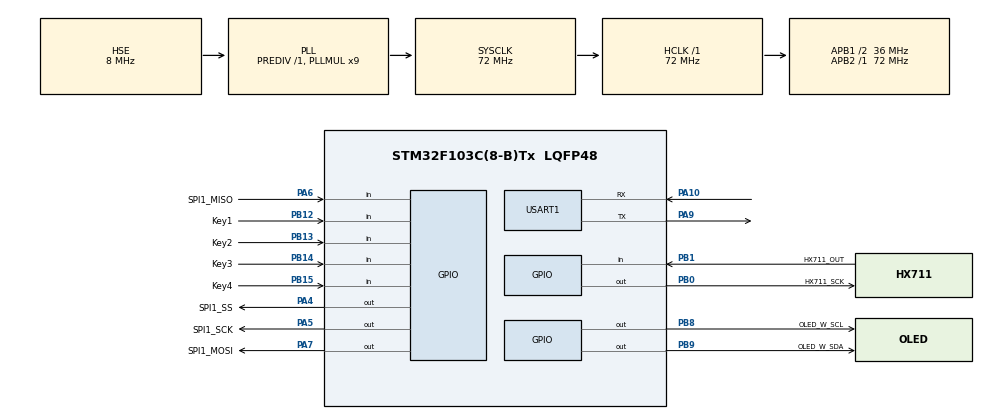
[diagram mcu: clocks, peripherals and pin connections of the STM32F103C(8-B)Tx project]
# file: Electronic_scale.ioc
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Mcu.Family=STM32F1
Mcu.Name=STM32F103C(8-B)Tx
Mcu.Package=LQFP48
NVIC.PriorityGroup=NVIC_PRIORITYGROUP_4
NVIC.TIM3_IRQn=true\:0\:0\:true\:false\:true\:true\:true\:true
PA10.Mode=Asynchronous
PA10.Signal=USART1_RX
PA13.Mode=Serial_Wire
PA13.Signal=SYS_JTMS-SWDIO
PA14.Mode=Serial_Wire
PA14.Signal=SYS_JTCK-SWCLK
PA4.GPIO_Label=SPI1_SS
PA4.GPIO_Speed=GPIO_SPEED_FREQ_HIGH
PA4.PinState=GPIO_PIN_SET
PA4.Signal=GPIO_Output
PA5.GPIO_Label=SPI1_SCK
PA5.GPIO_PuPd=GPIO_NOPULL
PA5.GPIO_Speed=GPIO_SPEED_FREQ_HIGH
PA5.Signal=GPIO_Output
PA6.GPIO_Label=SPI1_MISO
PA6.GPIO_PuPd=GPIO_PULLUP
PA6.Signal=GPIO_Input
PA7.GPIO_Label=SPI1_MOSI
PA7.GPIO_Speed=GPIO_SPEED_FREQ_HIGH
PA7.PinState=GPIO_PIN_SET
PA7.Signal=GPIO_Output
PA9.Mode=Asynchronous
PA9.Signal=USART1_TX
PB0.GPIO_Label=HX711_SCK
PB0.GPIO_Speed=GPIO_SPEED_FREQ_HIGH
PB0.PinState=GPIO_PIN_RESET
PB0.Signal=GPIO_Output
PB1.GPIO_Label=HX711_OUT
PB1.GPIO_PuPd=GPIO_PULLUP
PB1.Signal=GPIO_Input
PB12.GPIO_Label=Key1
PB12.GPIO_PuPd=GPIO_PULLDOWN
PB12.Signal=GPIO_Input
PB13.GPIO_Label=Key2
PB13.GPIO_PuPd=GPIO_PULLDOWN
PB13.Signal=GPIO_Input
PB14.GPIO_Label=Key3
PB14.GPIO_PuPd=GPIO_PULLDOWN
PB14.Signal=GPIO_Input
PB15.GPIO_Label=Key4
PB15.GPIO_PuPd=GPIO_PULLDOWN
PB15.Signal=GPIO_Input
PB8.GPIO_Label=OLED_W_SCL
PB8.GPIO_ModeDefaultOutputPP=GPIO_MODE_OUTPUT_OD
PB8.GPIO_PuPd=GPIO_PULLUP
PB8.GPIO_Speed=GPIO_SPEED_FREQ_HIGH
PB8.PinState=GPIO_PIN_SET
PB8.Signal=GPIO_Output
PB9.GPIO_Label=OLED_W_SDA
PB9.GPIO_ModeDefaultOutputPP=GPIO_MODE_OUTPUT_OD
PB9.GPIO_PuPd=GPIO_PULLUP
PB9.GPIO_Speed=GPIO_SPEED_FREQ_HIGH
PB9.PinState=GPIO_PIN_SET
PB9.Signal=GPIO_Output
PD0-OSC_IN.Mode=HSE-External-Oscillator
PD0-OSC_IN.Signal=RCC_OSC_IN
PD1-OSC_OUT.Mode=HSE-External-Oscillator
PD1-OSC_OUT.Signal=RCC_OSC_OUT
ProjectManager.HeapSize=0x200
ProjectManager.StackSize=0x400
ProjectManager.TargetToolchain=CMake
RCC.AHBFreq_Value=72000000
RCC.APB1CLKDivider=RCC_HCLK_DIV2
RCC.APB1Freq_Value=36000000
RCC.APB1TimFreq_Value=72000000
RCC.APB2Freq_Value=72000000
RCC.APB2TimFreq_Value=72000000
RCC.EnbaleCSS=true
RCC.HCLKFreq_Value=72000000
RCC.PLLMUL=RCC_PLL_MUL9
RCC.PLLSourceVirtual=RCC_PLLSOURCE_HSE
RCC.SYSCLKFreq_VALUE=72000000
RCC.SYSCLKSource=RCC_SYSCLKSOURCE_PLLCLK
RCC.USBFreq_Value=72000000
TIM3.AutoReloadPreload=TIM_AUTORELOAD_PRELOAD_ENABLE
TIM3.Period=999
TIM3.Prescaler=7199
USART1.VirtualMode=VM_ASYNC
VP_TIM3_VS_ClockSourceINT.Mode=Internal
board=custom

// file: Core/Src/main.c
/* USER CODE BEGIN Header */
/**
  ******************************************************************************
  * @file           : main.c
  * @brief          : Main program body
  ******************************************************************************
  * @attention
  *
  * Copyright (c) 2026 STMicroelectronics.
  * All rights reserved.
  *
  * This software is licensed under terms that can be found in the LICENSE file
  * in the root directory of this software component.
  * If no LICENSE file comes with this software, it is provided AS-IS.
  *
  ******************************************************************************
  */
/* USER CODE END Header */
#include "main.h"
#include "tim.h"
#include "usart.h"
#include "gpio.h"

/* USER CODE BEGIN Includes */
#include "OLED.h"
#include "hx711.h"
#include "Serial.h"
#include "W25Q64.h"
#include "Key.h"
#include <stdint.h>
/* USER CODE END Includes */

/* USER CODE BEGIN PD */
extern const uint8_t* const BMP_FRAMES[];

/* USER CODE END PD */

void SystemClock_Config(void);

/* USER CODE BEGIN 0 */
int32_t Rawval = 0;//HX711原始数据
float Weight = 0;//重量
uint32_t SaveCount = 0;//保存结果
uint8_t WeightData[16];//重量数据数组
uint32_t SaveDisplayTime = 0;//保存结果显示时间
float UnitPrice = 0.0f;//单价
float TotalPrice = 0.0f;//总价
DisplayState current_display_state = DISPLAY_WEIGHING;//显示模式
uint32_t history_index = 0;//历史记录索引
uint32_t save_index = 0;//查询记录索引
/* USER CODE END 0 */

int main(void)
{

  /* MCU Configuration--------------------------------------------------------*/

  /* Reset of all peripherals, Initializes the Flash interface and the Systick. */
  HAL_Init();

  /* Configure the system clock */
  SystemClock_Config();

  /* Initialize all configured peripherals */
  MX_GPIO_Init();
  MX_USART1_UART_Init();
  MX_TIM3_Init();
  /* USER CODE BEGIN 2 */
  OLED_Init();
  // OLED_ShowString(2, 1, "Elector_SCALE");
  // OLED_ShowString(3, 1, "Initializing...");
  // HX711_Init();
  // HX711_KalmanInit(0.05f, 0.1f, 0.0f);
  // W25Q64_Init();
  // OLED_ShowString(1, 1, "Weight:");
  // 1. 先去皮（确保秤上无物品）
  // HX711_Tare();
  HAL_Delay(100);

  // // 2. 放置已知重量的物品进行校准（例如1000g）
  // HX711_Calibrate(1000.0f);
  // HAL_Delay(100);

  // 3. 再次去皮
  // HX711_Tare();
  HAL_TIM_Base_Start_IT(&htim3);
  // W25Q64_SectorErase(16);
    OLED_Clear();
  /* USER CODE END 2 */

  /* Infinite loop */
  /* USER CODE BEGIN WHILE */
  uint8_t frame_idx = 0;

  while (1)
  {
    OLED_DrawBMPToBuffer(20, 0, 64, 64, BMP_FRAMES[frame_idx], 0);
    OLED_FlushBuffer();

    frame_idx = (frame_idx + 1) % 28;

    // HAL_Delay(5);  // 50ms = 20fps
    // Rawval = HX711_Read();
    // Weight = HX711_GetWeight(Rawval);
    // Serial_Printf("weight:%.2f\r\n", Weight);

    // if (current_display_state == DISPLAY_WEIGHING)
    // {
    //     //显示重量
    //     // OLED_ShowCN(1, 1, 0, 1);
    //     // OLED_ShowCN(1, 2, 1, 1);
    //     DISPLAY_Zhong;
    //     DISPLAY_Liang;
    //     OLED_ShowString(1, 5, ":");
    //     OLED_ShowString(1, 16, "g");
    //     OLED_ShowFloat(1, 6, Weight, 5, 2);

    //     if (Weight >= 0.0f)
    //     {
    //         TotalPrice = Weight * UnitPrice/500.0f;
    //     }
    //     else
    //     {
    //         TotalPrice = 0.0f;
    //     }

    //     // OLED_ShowString(2, 1, "Price:");
    //     DISPLAY_Dan;
    //     DISPLAY_Jia;
    //     OLED_ShowString(2, 5, ":");
    //     OLED_ShowFloat(2, 6, UnitPrice, 3, 1);
    //     OLED_ShowString(2, 12, "/500g");
    //     // OLED_ShowString(3, 1, "Total:");
    //     DISPLAY_Zong;
    //     DISPLAY_Jiage;
    //     OLED_ShowString(3, 5, ":");
    //     OLED_ShowFloat(3, 6, TotalPrice, 3, 2);
    //     DISPLAY_Yuan;
    //     // OLED_ShowString(3, 13, "￥");

    //     if (SaveResult != 0)
    //     {
    //         if (SaveResult == 1)
    //         {
    //             // OLED_ShowString(4, 1, "Save OK!     ");
    //           OLED_SHOW_SAVE_OK();
    //         }
    //         else if (SaveResult == 2)
    //         {
    //             OLED_ShowString(4, 1, "Weight < 0!  ");
    //         }
    //         else if (SaveResult == 3)
    //         {
    //             OLED_ShowString(4, 1, "OverWeight!  ");
    //         }
    //         SaveDisplayTime = HAL_GetTick();
    //         SaveResult = 0;
    //     }

    //     if (SaveDisplayTime != 0 && (HAL_GetTick() - SaveDisplayTime) > 1000)
    //     {
    //         OLED_ShowString(4, 1, "             ");
    //         SaveDisplayTime = 0;
    //     }
    // }
    // else if (current_display_state == DISPLAY_HISTORY)
    // {
    //     HistoryRecord *record = Key_GetHistoryRecord(save_index);

    //     // OLED_ShowString(1, 1, "Weight:");
    //     DISPLAY_Zhong;
    //     DISPLAY_Liang;
    //     OLED_ShowString(1, 5, ":");
    //     OLED_ShowFloat(1, 6, record->weight, 5, 2);
    //     OLED_ShowString(1, 16, "g");
    //     DISPLAY_Dan;
    //     DISPLAY_Jia;
    //     // OLED_ShowString(2, 1, "Price:");
    //     OLED_ShowString(2, 5, ":");
    //     OLED_ShowFloat(2, 6, record->unit_price, 3, 1);
    //     OLED_ShowString(2, 12, "/500g");
    //     DISPLAY_Zong;
    //     DISPLAY_Jiage;
    //     // OLED_ShowString(3, 1, "Total:");
    //     OLED_ShowString(3, 5, ":");
    //     OLED_ShowFloat(3, 6, record->total_price, 3, 2);
    //     DISPLAY_Yuan;
    //     // OLED_ShowString(3, 13, "￥");
    //     OLED_ShowString(4, 1, "Index:");
    //     // OLED_ShowFloat(4, 7, record->history_index + 1, 2, 0);
    //     OLED_ShowNum(4, 7, record->history_index + 1, 2);

    //     HAL_Delay(100);
    // }

    // HAL_Delay(100);
    /* USER CODE END WHILE */

  }
}

void SystemClock_Config(void)
{
  RCC_OscInitTypeDef RCC_OscInitStruct = {0};
  RCC_ClkInitTypeDef RCC_ClkInitStruct = {0};

  /** Initializes the RCC Oscillators according to the specified parameters
  * in the RCC_OscInitTypeDef structure.
  */
  RCC_OscInitStruct.OscillatorType = RCC_OSCILLATORTYPE_HSE;
  RCC_OscInitStruct.HSEState = RCC_HSE_ON;
  RCC_OscInitStruct.HSEPredivValue = RCC_HSE_PREDIV_DIV1;
  RCC_OscInitStruct.HSIState = RCC_HSI_ON;
  RCC_OscInitStruct.PLL.PLLState = RCC_PLL_ON;
  RCC_OscInitStruct.PLL.PLLSource = RCC_PLLSOURCE_HSE;
  RCC_OscInitStruct.PLL.PLLMUL = RCC_PLL_MUL9;
  if (HAL_RCC_OscConfig(&RCC_OscInitStruct) != HAL_OK)
  {
    Error_Handler();
  }

  /** Initializes the CPU, AHB and APB buses clocks
  */
  RCC_ClkInitStruct.ClockType = RCC_CLOCKTYPE_HCLK|RCC_CLOCKTYPE_SYSCLK
                              |RCC_CLOCKTYPE_PCLK1|RCC_CLOCKTYPE_PCLK2;
  RCC_ClkInitStruct.SYSCLKSource = RCC_SYSCLKSOURCE_PLLCLK;
  RCC_ClkInitStruct.AHBCLKDivider = RCC_SYSCLK_DIV1;
  RCC_ClkInitStruct.APB1CLKDivider = RCC_HCLK_DIV2;
  RCC_ClkInitStruct.APB2CLKDivider = RCC_HCLK_DIV1;

  if (HAL_RCC_ClockConfig(&RCC_ClkInitStruct, FLASH_LATENCY_2) != HAL_OK)
  {
    Error_Handler();
  }

  /** Enables the Clock Security System
  */
  HAL_RCC_EnableCSS();
}

/* USER CODE BEGIN 4 */
void HAL_TIM_PeriodElapsedCallback(TIM_HandleTypeDef *htim)
{
    if (htim == (&htim3))
    {
        Key1_scan(Key1);
        Key2_scan(Key2);
        Key3_scan(Key3);
        Key4_scan(Key4);
    }
}
/* USER CODE END 4 */

void Error_Handler(void)
{
  __disable_irq();
  while (1)
  {
  }
}
